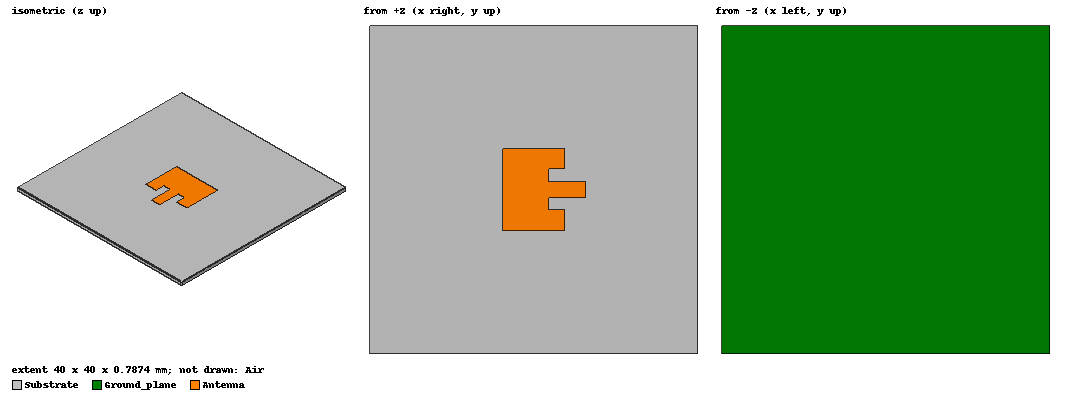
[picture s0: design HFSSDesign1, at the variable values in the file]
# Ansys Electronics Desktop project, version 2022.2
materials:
  vacuum: permittivity=1
  Rogers RO4350 (tm): permittivity=3.66 dielectric_loss_tangent=0.004

design HFSSDesign1 (HFSS, DrivenTerminal, model units mm)
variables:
  substrate = 40mm
  h = 31mil
  al = 7.5mm
  aw = 10mm
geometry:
  Substrate [Rogers RO4350 (tm)] = box(corner=(-substrate/2, -substrate/2, 0mm), size=(substrate, substrate, -h))
  Ground_plane = rectangle(corner=(-substrate/2, -substrate/2, -h), x_size=substrate, y_size=substrate)
  Antenna = rectangle(corner=(-al/2, -aw/2, 0mm), x_size=al, y_size=aw)
  cutout = rectangle(corner=(al/4, -0.25*aw, 0mm), x_size=al/4, y_size=0.5*aw)
  Antenna.subtract(cutout)
  Conductor = rectangle(corner=(al/4, -0.1*aw, 0mm), x_size=0.6*al, y_size=0.2*aw)
  Antenna.unite(Conductor)
  Source = rectangle(corner=(0.6*al+al/4, -0.1*aw, 0mm), y_size=0.2*aw, z_size=-h)
  Air [vacuum] = box(corner=(-substrate/2, -substrate/2, 0mm), size=(substrate, substrate, substrate/2))
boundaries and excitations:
  PerfE_Ground: Perfect E Objects=Ground_plane
  PerfE_Antenna: Perfect E Objects=Antenna
  Radiation: Radiation Faces=Air.face(+z, -y, -x, +y, +x)
  1: Terminal port=P1 Edges=Antenna.edge(2 of 4) TerminalResistance=50ohm
  P1: Lumped Port Faces=Source.face Impedance=50ohm
  reference conductors: Ground_plane
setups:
  Setup2: HfssDriven Frequency=10GHz MaxDeltaS=0.02 MaximumPasses=15 MinimumPasses=1 MinimumConvergedPasses=1 PercentRefinement=30 BasisOrder=1 PortAccuracy=2 DrivenSolverType="Direct Solver"
    sweep Sweep: 8GHz to 12GHz, 41 points; Type=Discrete SaveFields
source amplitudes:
  P1:1: 1V 0deg
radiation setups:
  Infinite Sphere1: Infinite Sphere Theta=0deg..180deg step 2deg Phi=-180deg..180deg step 2deg
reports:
  Terminal S Parameter Plot 1: dB(St(1,1)) vs Freq on Setup2 : Sweep
  Gain Plot 1: dB(GainTotal) vs Phi, Theta on Setup2 : LastAdaptive, Infinite Sphere1 [Freq=10GHz]
